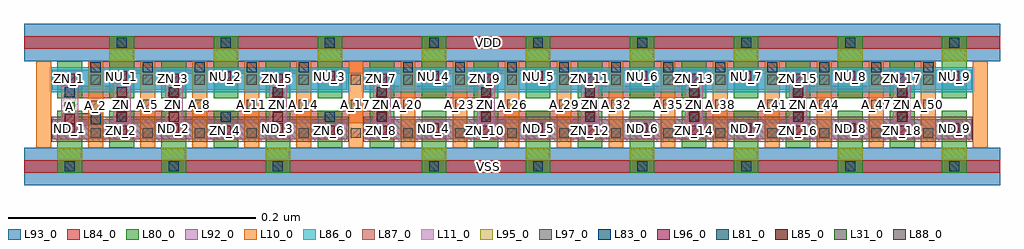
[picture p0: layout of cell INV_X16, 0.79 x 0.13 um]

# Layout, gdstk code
import gdstk
lib = gdstk.Library(unit=1e-6, precision=1e-09)
def R(c, l, rs):  # rectangles x0, y0, x1, y1
    for r in rs: c.add(gdstk.rectangle(r[:2], r[2:], *l))
def A(c, l, x, y, w, h, nx, ny, dx, dy):  # array of equal rectangles
    R(c, l, [(x+i*dx, y+j*dy, x+i*dx+w, y+j*dy+h) for i in range(nx) for j in range(ny)])
L10_0 = (10, 0)
L11_0 = (11, 0)
L31_0 = (31, 0)
L80_0 = (80, 0)
L81_0 = (81, 0)
L83_0 = (83, 0)
L84_0 = (84, 0)
L85_0 = (85, 0)
L86_0 = (86, 0)
L87_0 = (87, 0)
L88_0 = (88, 0)
L92_0 = (92, 0)
L93_0 = (93, 0)
L95_0 = (95, 0)
L96_0 = (96, 0)
L97_0 = (97, 0)

inv_x16 = lib.new_cell('INV_X16')
A(inv_x16, L10_0, -0.027, 0.015, 0.012, 0.07, 19, 1, 0.042, 0)
A(inv_x16, L11_0, 0.077, 0.033, 0.014, 0.034, 8, 1, 0.084, 0)
R(inv_x16, L11_0, [(-0.007,0.031,0.007,0.065), (0.035,0.033,0.049,0.067)])
A(inv_x16, L31_0, 0.08, 0.046, 0.008, 0.008, 8, 1, 0.084, 0)
R(inv_x16, L31_0, [(-0.004,0.044,0.004,0.052), (0.038,0.046,0.046,0.054)])
A(inv_x16, L80_0, -0.01, -0.005, 0.02, 0.03, 3, 1, 0.084, 0)
A(inv_x16, L80_0, 0.284, -0.005, 0.02, 0.03, 6, 1, 0.084, 0)
A(inv_x16, L80_0, -0.01, 0.015, 0.02, 0.03, 18, 2, 0.042, 0.04)
A(inv_x16, L80_0, 0.032, 0.075, 0.02, 0.03, 9, 1, 0.084, 0)
A(inv_x16, L81_0, 0.059, 0.076, 0.008, 0.008, 4, 1, 0.042, 0)
A(inv_x16, L81_0, 0.269, 0.076, 0.008, 0.008, 11, 1, 0.042, 0)
R(inv_x16, L81_0, [(0.017,0.034,0.025,0.042), (0.017,0.076,0.025,0.084), (0.017,0.076,0.025,0.084), (0.059,0.076,0.067,0.084)])
A(inv_x16, L83_0, -0.004, -0.004, 0.008, 0.008, 3, 1, 0.084, 0)
A(inv_x16, L83_0, 0.29, -0.004, 0.008, 0.008, 6, 1, 0.084, 0)
A(inv_x16, L83_0, 0.038, 0.036, 0.008, 0.008, 3, 1, 0.084, 0)
A(inv_x16, L83_0, 0.248, 0.036, 0.008, 0.008, 6, 1, 0.084, 0)
A(inv_x16, L83_0, 0.08, 0.056, 0.008, 0.008, 8, 1, 0.084, 0)
A(inv_x16, L83_0, 0.038, 0.096, 0.008, 0.008, 9, 1, 0.084, 0)
R(inv_x16, L83_0, [(-0.004,0.056,0.004,0.064), (-0.004,0.056,0.004,0.064), (0.08,0.056,0.088,0.064)])
A(inv_x16, L84_0, 0.037, 0.035, 0.031, 0.01, 10, 1, 0.021, 0)
A(inv_x16, L84_0, 0.331, 0.035, 0.031, 0.01, 4, 1, 0.021, 0)
A(inv_x16, L84_0, 0.499, 0.035, 0.031, 0.01, 4, 1, 0.021, 0)
A(inv_x16, L84_0, 0.247, 0.055, 0.031, 0.01, 4, 1, 0.021, 0)
A(inv_x16, L84_0, 0.415, 0.055, 0.031, 0.01, 4, 1, 0.021, 0)
A(inv_x16, L84_0, 0.583, 0.055, 0.031, 0.01, 4, 1, 0.021, 0)
A(inv_x16, L84_0, 0.016, 0.075, 0.031, 0.01, 32, 1, 0.021, 0)
R(inv_x16, L84_0, [(-0.037,-0.005,0.751,0.005), (-0.006,0.033,0.027,0.043), (0.667,0.035,0.677,0.045), (-0.005,0.055,0.026,0.065), (0.016,0.055,0.047,0.065), (0.079,0.055,0.089,0.065), (0.163,0.055,0.173,0.065), (-0.037,0.095,0.751,0.105)])
A(inv_x16, L85_0, 0.08, 0.036, 0.008, 0.008, 8, 2, 0.084, 0.02)
R(inv_x16, L85_0, [(-0.004,0.034,0.004,0.042), (0.038,0.036,0.046,0.044), (0.038,0.056,0.046,0.064)])
R(inv_x16, L86_0, [(-0.015,0.06,0.225,0.08), (0.237,0.06,0.729,0.08)])
R(inv_x16, L87_0, [(-0.015,0.02,0.225,0.04), (0.237,0.02,0.729,0.04)])
R(inv_x16, L88_0, [(0.334,-0.004,0.342,0.004), (0.334,0.096,0.342,0.104)])
R(inv_x16, L92_0, [(-0.014,0.022,0.224,0.038), (0.238,0.022,0.728,0.038), (-0.014,0.062,0.224,0.078), (0.238,0.062,0.728,0.078)])
R(inv_x16, L93_0, [(-0.037,-0.015,0.751,0.015), (-0.037,0.085,0.751,0.115)])
A(inv_x16, L95_0, -0.01, 0.005, 0.02, 0.01, 3, 1, 0.084, 0)
A(inv_x16, L95_0, 0.284, 0.005, 0.02, 0.01, 6, 1, 0.084, 0)
A(inv_x16, L95_0, 0.032, 0.085, 0.02, 0.01, 9, 1, 0.084, 0)
A(inv_x16, L96_0, 0.038, 0.025, 0.008, 0.008, 3, 1, 0.084, 0)
A(inv_x16, L96_0, 0.248, 0.025, 0.008, 0.008, 6, 1, 0.084, 0)
A(inv_x16, L96_0, -0.004, 0.027, 0.008, 0.008, 3, 1, 0.084, 0)
A(inv_x16, L96_0, 0.29, 0.027, 0.008, 0.008, 6, 1, 0.084, 0)
A(inv_x16, L96_0, -0.004, 0.067, 0.008, 0.008, 9, 1, 0.084, 0)
A(inv_x16, L96_0, 0.038, 0.069, 0.008, 0.008, 9, 1, 0.084, 0)
A(inv_x16, L97_0, 0.017, 0.023, 0.008, 0.008, 17, 2, 0.042, 0.043)
A(inv_x16, L97_0, 0.059, 0.046, 0.008, 0.008, 16, 1, 0.042, 0)
R(inv_x16, L97_0, [(0.017,0.045,0.025,0.053)])
inv_x16.add(gdstk.Label('NU_1', (0.042,0.073), layer=96, texttype=0))
inv_x16.add(gdstk.Label('NU_2', (0.126,0.073), layer=96, texttype=0))
inv_x16.add(gdstk.Label('NU_3', (0.21,0.073), layer=96, texttype=0))
inv_x16.add(gdstk.Label('NU_4', (0.294,0.073), layer=96, texttype=0))
inv_x16.add(gdstk.Label('NU_5', (0.378,0.073), layer=96, texttype=0))
inv_x16.add(gdstk.Label('NU_6', (0.462,0.073), layer=96, texttype=0))
inv_x16.add(gdstk.Label('NU_7', (0.546,0.073), layer=96, texttype=0))
inv_x16.add(gdstk.Label('NU_8', (0.63,0.073), layer=96, texttype=0))
inv_x16.add(gdstk.Label('NU_9', (0.714,0.073), layer=96, texttype=0))
inv_x16.add(gdstk.Label('ND_9', (0.714,0.031), layer=96, texttype=0))
inv_x16.add(gdstk.Label('ND_1', (0,0.031), layer=96, texttype=0))
inv_x16.add(gdstk.Label('ND_2', (0.084,0.031), layer=96, texttype=0))
inv_x16.add(gdstk.Label('ND_3', (0.168,0.031), layer=96, texttype=0))
inv_x16.add(gdstk.Label('ND_4', (0.294,0.031), layer=96, texttype=0))
inv_x16.add(gdstk.Label('ND_5', (0.378,0.031), layer=96, texttype=0))
inv_x16.add(gdstk.Label('ND_6', (0.462,0.031), layer=96, texttype=0))
inv_x16.add(gdstk.Label('ND_7', (0.546,0.031), layer=96, texttype=0))
inv_x16.add(gdstk.Label('ND_8', (0.63,0.031), layer=96, texttype=0))
inv_x16.add(gdstk.Label('ZN_1', (0,0.071), layer=96, texttype=0))
inv_x16.add(gdstk.Label('ZN_3', (0.084,0.071), layer=96, texttype=0))
inv_x16.add(gdstk.Label('ZN_5', (0.168,0.071), layer=96, texttype=0))
inv_x16.add(gdstk.Label('ZN_7', (0.252,0.071), layer=96, texttype=0))
inv_x16.add(gdstk.Label('ZN_9', (0.336,0.071), layer=96, texttype=0))
inv_x16.add(gdstk.Label('ZN_11', (0.42,0.071), layer=96, texttype=0))
inv_x16.add(gdstk.Label('ZN_13', (0.504,0.071), layer=96, texttype=0))
inv_x16.add(gdstk.Label('ZN_15', (0.588,0.071), layer=96, texttype=0))
inv_x16.add(gdstk.Label('ZN_17', (0.672,0.071), layer=96, texttype=0))
inv_x16.add(gdstk.Label('ZN_18', (0.672,0.029), layer=96, texttype=0))
inv_x16.add(gdstk.Label('ZN_16', (0.588,0.029), layer=96, texttype=0))
inv_x16.add(gdstk.Label('ZN_14', (0.504,0.029), layer=96, texttype=0))
inv_x16.add(gdstk.Label('ZN_12', (0.42,0.029), layer=96, texttype=0))
inv_x16.add(gdstk.Label('ZN_10', (0.336,0.029), layer=96, texttype=0))
inv_x16.add(gdstk.Label('ZN_8', (0.252,0.029), layer=96, texttype=0))
inv_x16.add(gdstk.Label('ZN_6', (0.21,0.029), layer=96, texttype=0))
inv_x16.add(gdstk.Label('ZN_4', (0.126,0.029), layer=96, texttype=0))
inv_x16.add(gdstk.Label('ZN_2', (0.042,0.029), layer=96, texttype=0))
inv_x16.add(gdstk.Label('A', (0,0.048), layer=31, texttype=0))
inv_x16.add(gdstk.Label('ZN', (0.042,0.05), layer=31, texttype=0))
inv_x16.add(gdstk.Label('ZN', (0.084,0.05), layer=31, texttype=0))
inv_x16.add(gdstk.Label('ZN', (0.168,0.05), layer=31, texttype=0))
inv_x16.add(gdstk.Label('ZN', (0.252,0.05), layer=31, texttype=0))
inv_x16.add(gdstk.Label('ZN', (0.336,0.05), layer=31, texttype=0))
inv_x16.add(gdstk.Label('ZN', (0.42,0.05), layer=31, texttype=0))
inv_x16.add(gdstk.Label('ZN', (0.504,0.05), layer=31, texttype=0))
inv_x16.add(gdstk.Label('ZN', (0.588,0.05), layer=31, texttype=0))
inv_x16.add(gdstk.Label('ZN', (0.672,0.05), layer=31, texttype=0))
inv_x16.add(gdstk.Label('A_2', (0.021,0.049), layer=97, texttype=0))
inv_x16.add(gdstk.Label('A_1', (0.021,0.07), layer=97, texttype=0))
inv_x16.add(gdstk.Label('A_4', (0.063,0.07), layer=97, texttype=0))
inv_x16.add(gdstk.Label('A_7', (0.105,0.07), layer=97, texttype=0))
inv_x16.add(gdstk.Label('A_10', (0.147,0.07), layer=97, texttype=0))
inv_x16.add(gdstk.Label('A_13', (0.189,0.07), layer=97, texttype=0))
inv_x16.add(gdstk.Label('A_16', (0.231,0.07), layer=97, texttype=0))
inv_x16.add(gdstk.Label('A_19', (0.273,0.07), layer=97, texttype=0))
inv_x16.add(gdstk.Label('A_22', (0.315,0.07), layer=97, texttype=0))
inv_x16.add(gdstk.Label('A_25', (0.357,0.07), layer=97, texttype=0))
inv_x16.add(gdstk.Label('A_28', (0.399,0.07), layer=97, texttype=0))
inv_x16.add(gdstk.Label('A_31', (0.441,0.07), layer=97, texttype=0))
inv_x16.add(gdstk.Label('A_34', (0.483,0.07), layer=97, texttype=0))
inv_x16.add(gdstk.Label('A_37', (0.525,0.07), layer=97, texttype=0))
inv_x16.add(gdstk.Label('A_40', (0.567,0.07), layer=97, texttype=0))
inv_x16.add(gdstk.Label('A_43', (0.609,0.07), layer=97, texttype=0))
inv_x16.add(gdstk.Label('A_46', (0.651,0.07), layer=97, texttype=0))
inv_x16.add(gdstk.Label('A_49', (0.693,0.07), layer=97, texttype=0))
inv_x16.add(gdstk.Label('A_50', (0.693,0.05), layer=97, texttype=0))
inv_x16.add(gdstk.Label('A_47', (0.651,0.05), layer=97, texttype=0))
inv_x16.add(gdstk.Label('A_44', (0.609,0.05), layer=97, texttype=0))
inv_x16.add(gdstk.Label('A_41', (0.567,0.05), layer=97, texttype=0))
inv_x16.add(gdstk.Label('A_38', (0.525,0.05), layer=97, texttype=0))
inv_x16.add(gdstk.Label('A_35', (0.483,0.05), layer=97, texttype=0))
inv_x16.add(gdstk.Label('A_32', (0.441,0.05), layer=97, texttype=0))
inv_x16.add(gdstk.Label('A_29', (0.399,0.05), layer=97, texttype=0))
inv_x16.add(gdstk.Label('A_26', (0.357,0.05), layer=97, texttype=0))
inv_x16.add(gdstk.Label('A_23', (0.315,0.05), layer=97, texttype=0))
inv_x16.add(gdstk.Label('A_20', (0.273,0.05), layer=97, texttype=0))
inv_x16.add(gdstk.Label('A_17', (0.231,0.05), layer=97, texttype=0))
inv_x16.add(gdstk.Label('A_14', (0.189,0.05), layer=97, texttype=0))
inv_x16.add(gdstk.Label('A_11', (0.147,0.05), layer=97, texttype=0))
inv_x16.add(gdstk.Label('A_8', (0.105,0.05), layer=97, texttype=0))
inv_x16.add(gdstk.Label('A_5', (0.063,0.05), layer=97, texttype=0))
inv_x16.add(gdstk.Label('A_6', (0.063,0.027), layer=97, texttype=0))
inv_x16.add(gdstk.Label('A_3', (0.021,0.027), layer=97, texttype=0))
inv_x16.add(gdstk.Label('A_9', (0.105,0.027), layer=97, texttype=0))
inv_x16.add(gdstk.Label('A_12', (0.147,0.027), layer=97, texttype=0))
inv_x16.add(gdstk.Label('A_15', (0.189,0.027), layer=97, texttype=0))
inv_x16.add(gdstk.Label('A_21', (0.273,0.027), layer=97, texttype=0))
inv_x16.add(gdstk.Label('A_24', (0.315,0.027), layer=97, texttype=0))
inv_x16.add(gdstk.Label('A_27', (0.357,0.027), layer=97, texttype=0))
inv_x16.add(gdstk.Label('A_30', (0.399,0.027), layer=97, texttype=0))
inv_x16.add(gdstk.Label('A_33', (0.441,0.027), layer=97, texttype=0))
inv_x16.add(gdstk.Label('A_36', (0.483,0.027), layer=97, texttype=0))
inv_x16.add(gdstk.Label('A_39', (0.525,0.027), layer=97, texttype=0))
inv_x16.add(gdstk.Label('A_42', (0.567,0.027), layer=97, texttype=0))
inv_x16.add(gdstk.Label('A_45', (0.609,0.027), layer=97, texttype=0))
inv_x16.add(gdstk.Label('A_48', (0.651,0.027), layer=97, texttype=0))
inv_x16.add(gdstk.Label('A_51', (0.693,0.027), layer=97, texttype=0))
inv_x16.add(gdstk.Label('A_18', (0.231,0.027), layer=97, texttype=0))
inv_x16.add(gdstk.Label('VSS', (0.338,0), layer=88, texttype=0))
inv_x16.add(gdstk.Label('VDD', (0.338,0.1), layer=88, texttype=0))

lib.write_gds('INV_X16.gds')
